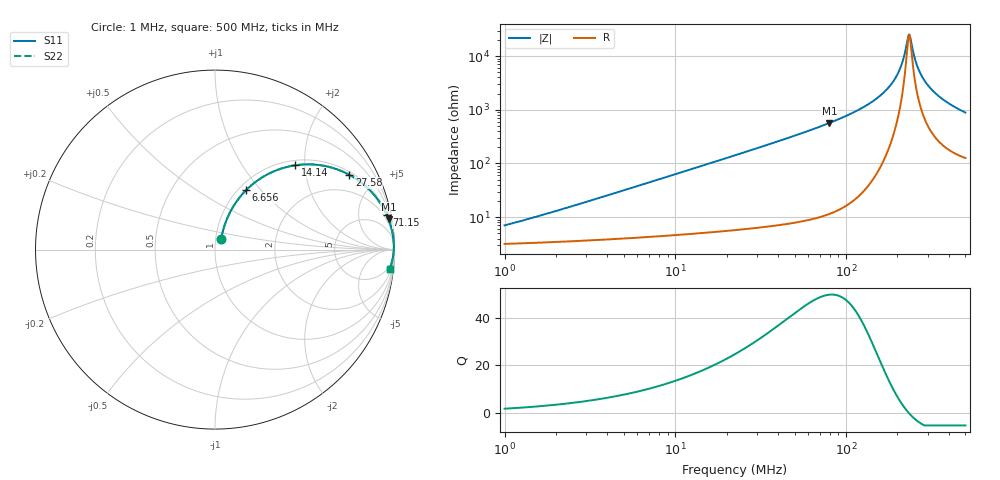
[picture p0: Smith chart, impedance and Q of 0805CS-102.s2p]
# MHz S MA R 50
!Freq  MagS11  AngS11  MagS21  AngS21  MagS12  AngS12  MagS22  AngS22
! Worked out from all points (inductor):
!   801 points, 1 MHz to 500 MHz, reference 50 ohm
!   read as one part in series: L = 1 uH near 1.606 MHz
!   highest Q = 49.5 at 79.94 MHz (marker M1), where L = 1.13 uH
!   self-resonance near 233.5 MHz
!   S11 on the Smith chart (normalised r, x): 1 MHz: 1.06, +0.13; 6.656 MHz: 1.08, +0.84; 14.14 MHz: 1.10, +1.78; 27.58 MHz: 1.12, +3.51; 71.15 MHz: 1.20, +9.85; 500 MHz: 4, -18
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1  0.06809 59.7  0.9675 -3.5  0.9675 -3.5  0.06809 59.7
2.831897  0.1727 68.7  0.9511 -9.7  0.9511 -9.7  0.1727 68.7
6.655579  0.3745 62.3  0.8903 -21.9  0.8903 -21.9  0.3745 62.3
7.957584  0.434 59.4  0.8637 -25.6  0.8637 -25.6  0.434 59.4
14.13956  0.6482 46.4  0.7258 -40.3  0.7258 -40.3  0.6482 46.4
22.53506  0.8045 34.2  0.5625 -53.5  0.5625 -53.5  0.8045 34.2
27.57879  0.8565 29.1  0.4871 -58.9  0.4871 -58.9  0.8565 29.1
63.32315  0.9694 13.0  0.2258 -75.7  0.2258 -75.7  0.9694 13.0
71.1489  0.9761 11.4  0.1982 -77.4  0.1982 -77.4  0.9761 11.4
79.94179  0.9815 9.9  0.1726 -78.9  0.1726 -78.9  0.9815 9.9
131.4291  0.9942 4.7  0.08251 -83.6  0.08251 -83.6  0.9942 4.7
177.937  0.9965 2.2  0.03783 -83.7  0.03783 -83.7  0.9965 2.2
204.6412  0.9966 1.1  0.0187 -79.0  0.0187 -79.0  0.9966 1.1
216.0773  0.9965 0.6  0.01156 -71.9  0.01156 -71.9  0.9965 0.6
229.9316  0.9962 0.2  0.004623 -34.5  0.004623 -34.5  0.9962 0.2
235.3531  0.9961 -0.0  0.003979 7.4  0.003979 7.4  0.9961 -0.0
240.9023  0.9959 -0.2  0.005491 41.6  0.005491 41.6  0.9959 -0.2
252.3965  0.9955 -0.6  0.01088 65.5  0.01088 65.5  0.9955 -0.6
262.3928  0.9952 -0.9  0.01591 71.9  0.01591 71.9  0.9952 -0.9
297.1196  0.9936 -1.8  0.03264 77.8  0.03264 77.8  0.9936 -1.8
369.3135  0.9892 -3.6  0.06333 78.4  0.06333 78.4  0.9892 -3.6
500  0.9783 -6.3  0.1102 75.5  0.1102 75.5  0.9783 -6.3
